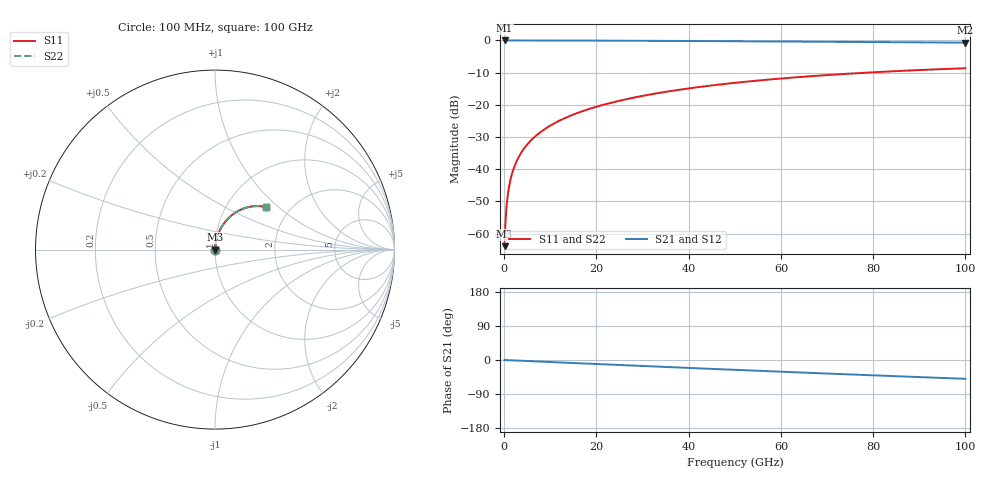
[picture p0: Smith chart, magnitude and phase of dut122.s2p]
! Touchstone file exported from HFSS 2026.1.0
!  File:  C:/ffzhzh/LocalFiles/Ansys_Project_Files/temp_train_TSV_122_1783506133_55944.aedt
!  Generated:  06:23:48 PM Jul  8, 2026
!  Design:  TSV
!  Project:  temp_train_TSV_122_1783506133_55944
! Variables:
!  h_bsmrdl = 2um
!  h_ox = 20um
!  h_rdl = 5um
!  h_sub = 88.85um
!  h_tmrdl = 5um
!  h_tsv = 88.85um
!  h_via = 3um
!  l_bsmrdl = 300um
!  l_sub = 410.9um
!  l_tmrdl = 200um
!  m_sub = 200um
!  pitch = 51.2um
!  r_tsv = 5.45um
!  s_tmrdl = 10um
!  w_bsmrdl = 18um
!  w_sub = 500um
!  w_tmrdl = 12um
!  x_tsv_center1 = 206um
!  x_tsv_center2 = 524um
!  x_tsv_center3 = 736um
!  x_tsv_center4 = 1054um
!  x_tsv_center5 = 1266um
!  x_tsv_center6 = 1584um
# GHz S MA R 50.000000
! Terminal data exported
! Port[1] = TSV1_1_T1
! Port[2] = TSV1_1_T2
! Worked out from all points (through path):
!   1000 points, 100 MHz to 100 GHz, reference 50 ohm
!   highest |S21| = 0.00 dB at 100 MHz (marker M1); lowest = -0.7 dB at 100 GHz (marker M2)
!   group delay of S21, straight-line fit = 1.38 ps
!   lowest |S11| = -63.9 dB at 100 MHz (marker M3), VSWR 1.00, Z = 50 + j0.0515 ohm
!   |S11| at or under -10 dB: start of sweep to 78.68 GHz
!   |S22| runs from -63.9 to -8.6 dB; largest |S21 - S12| = 6.6e-15
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0.1  0.0006359 54.0  0.9996 -0.1  0.9996 -0.1  0.0006359 54.0
! Gamma 0 0 0 0
! Port Impedance 50 0 50 0
0.4  0.002057 78.3  0.9996 -0.2  0.9996 -0.2  0.002057 78.3
0.7  0.003532 82.5  0.9996 -0.4  0.9996 -0.4  0.003532 82.5
0.8  0.004026 83.2  0.9995 -0.4  0.9995 -0.4  0.004026 83.2
1  0.005012 84.1  0.9995 -0.5  0.9995 -0.5  0.005012 84.1
1.3  0.006488 84.7  0.9995 -0.7  0.9995 -0.7  0.006488 84.7
1.7  0.008445 85.1  0.9994 -0.9  0.9994 -0.9  0.008445 85.1
2.3  0.01135 85.3  0.9993 -1.3  0.9993 -1.3  0.01135 85.3
3  0.0147 85.2  0.9991 -1.6  0.9991 -1.6  0.0147 85.2
3.8  0.0185 85.1  0.9989 -2.1  0.9989 -2.1  0.0185 85.1
4.8  0.02321 84.8  0.9987 -2.6  0.9987 -2.6  0.02321 84.8
6  0.02884 84.4  0.9984 -3.2  0.9984 -3.2  0.02884 84.4
8.8  0.04191 83.3  0.9977 -4.7  0.9977 -4.7  0.04191 83.3
12.4  0.0586 81.7  0.9966 -6.6  0.9966 -6.6  0.0586 81.7
16.8  0.07876 79.6  0.9949 -8.9  0.9949 -8.9  0.07876 79.6
24.2  0.1121 76.0  0.9913 -12.8  0.9913 -12.8  0.1121 76.0
33.4  0.1521 71.4  0.9856 -17.6  0.9856 -17.6  0.1521 71.4
41.2  0.1846 67.5  0.9798 -21.5  0.9798 -21.5  0.1846 67.5
50.1  0.2197 63.1  0.9723 -26.0  0.9723 -26.0  0.2197 63.1
66.7  0.279 55.1  0.9566 -34.2  0.9566 -34.2  0.279 55.1
83.4  0.3295 47.3  0.9402 -42.1  0.9402 -42.1  0.3295 47.3
100  0.37 39.8  0.9249 -49.6  0.9249 -49.6  0.37 39.8
